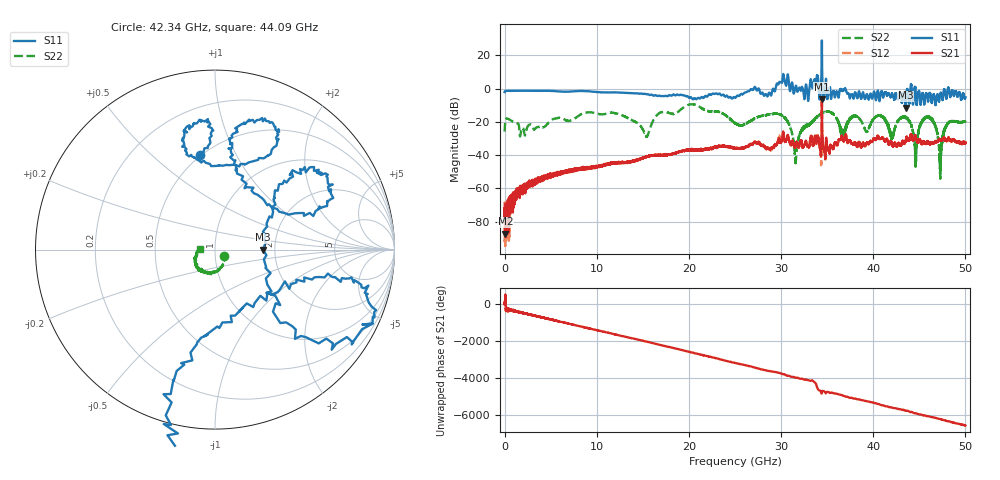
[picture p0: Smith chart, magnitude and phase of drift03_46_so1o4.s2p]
!Created with skrf (http://scikit-rf.org).
# Hz S RI R 50.0
!freq ReS11 ImS11 ReS21 ImS21 ReS12 ImS12 ReS22 ImS22
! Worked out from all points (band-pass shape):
!   10000 points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, 5.3 MHz to 50 GHz, reference 50 ohm
!   highest |S21| = -6.43 dB at 34.43 GHz (marker M1); lowest = -87.1 dB at 100.3 MHz (marker M2)
!   |S21| within 3 dB of the highest: 34.42739 GHz to 34.43469 GHz (7.299 MHz wide, 0.0212 % of centre)
!   lowest |S11| = -11.5 dB at 43.52 GHz (marker M3), VSWR 1.73, Z = 86.3 - j0.166 ohm
!   |S11| at or under -10 dB: 43.49037 GHz to 43.54241 GHz (52.03 MHz wide, 0.12 % of centre); 46.75997 GHz to 46.76007 GHz (101.3 kHz wide, 0.000217 % of centre)
!   |S22| runs from -54.2 to -9.4 dB; largest |S21 - S12| = 0.14
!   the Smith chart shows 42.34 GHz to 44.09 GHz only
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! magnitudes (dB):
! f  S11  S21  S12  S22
! 5.3 MHz  -2.1  -73.7  -68.7  -25.9
! 100.3 MHz  -1.5  -87.1  -71.6  -18.7
! 2.885 GHz  -1.4  -56.8  -56.8  -21.7
! 8.34 GHz  -1.5  -47.8  -48.7  -15.3
! 15.39 GHz  -3.4  -40.9  -41.0  -28.8
! 16.67 GHz  -4.4  -40.3  -40.1  -15.3
! 20.45 GHz  -6.5  -37.0  -36.8  -9.5
! 25.01 GHz  -5.5  -36.1  -36.0  -20.8
! 29.99 GHz  3.8  -32.3  -32.4  -15.8
! 31.59 GHz  1.4  -33.7  -34.0  -44.3
! 33.34 GHz  2.5  -30.4  -30.3  -20.3
! 34.43 GHz  28.8  -6.4  -8.2  -14.5
! 36.69 GHz  -1.4  -29.8  -29.8  -28.1
! 37.96 GHz  -3.7  -32.8  -32.7  -16.7
! 41.67 GHz  -3.0  -33.4  -33.2  -22.8
! 43.52 GHz  -11.5  -31.4  -31.3  -17.4
! 44.61 GHz  -1.7  -28.9  -29.1  -46.8
! 45.27 GHz  -3.9  -33.0  -33.3  -19.9
! 46.29 GHz  -6.2  -32.7  -32.7  -18.1
! 47.29 GHz  -2.9  -30.8  -30.9  -49.7
! 48.12 GHz  0.4  -30.0  -30.1  -20.8
! 50 GHz  -5.2  -32.4  -32.8  -19.7
